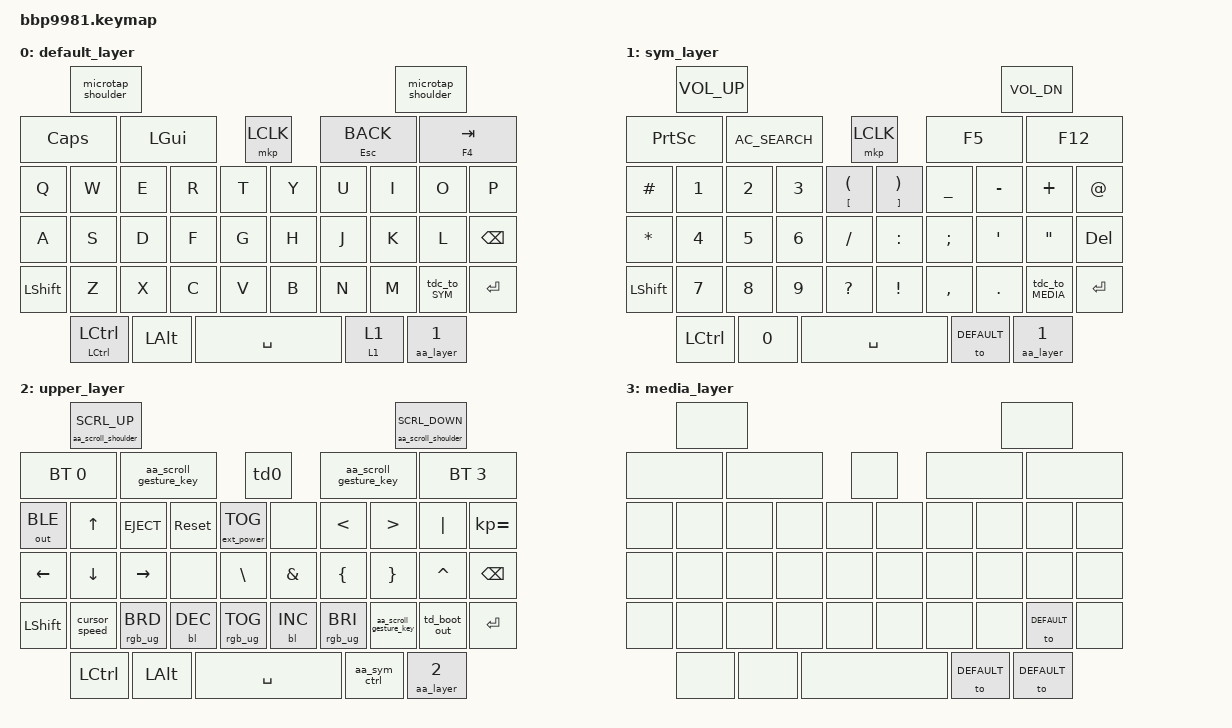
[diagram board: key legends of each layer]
/*
 * Copyright (c) 2025 ZitaoTech
 *
 * SPDX-License-Identifier: MIT
 */

#include <behaviors.dtsi>
#include <dt-bindings/zmk/keys.h>
#include <dt-bindings/zmk/bt.h>
#include <dt-bindings/zmk/outputs.h>
#include <dt-bindings/zmk/mouse.h>
#include <dt-bindings/zmk/backlight.h>
#include <dt-bindings/zmk/ext_power.h>
#include <dt-bindings/zmk/rgb.h>

#define DEFAULT 0
#define SYM 1
#define UPPER 2
#define MEDIA 3

#define SL_MO(layer) &sl_mo layer layer //tap -> sticky layer, hold -> momentary layer

&sl {
    release-after-ms = <3000>;
    };

/ {
    behaviors {
        cursor_speed: cursor_speed {
            compatible = "zmk,behavior-cursor-speed";
            #binding-cells = <0>;
            display-name = "Mouse gain: cycle five persistent presets";
        };
        microtap_shoulder: microtap_shoulder {
            compatible = "zmk,behavior-microtap-shoulder";
            #binding-cells = <0>;
            display-name = "Mouse shoulders: logical L/R roles follow inverted mode";
        };
        aa_sym_ctrl: aa_sym_ctrl {
            compatible = "zmk,behavior-aa-sym-ctrl";
            #binding-cells = <0>;
            display-name = "aA held: SYM Ctrl";
        };
        aa_layer: aa_layer {
            compatible = "zmk,behavior-aa-layer";
            #binding-cells = <1>;
            display-name = "Right aA: owned momentary/sticky/fixed UPPER";
        };
        aa_sl: aa_sticky_layer {
            compatible = "zmk,behavior-sticky-key";
            #binding-cells = <1>;
            bindings = <&aa_layer>;
            release-after-ms = <3000>;
            quick-release;
        };
        aa_mo: aa_hold_tap {
            compatible = "zmk,behavior-hold-tap";
            #binding-cells = <2>;
            flavor = "hold-preferred";
            tapping-term-ms = <450>;
            bindings = <&aa_layer>, <&aa_sl>;
        };
        aa_scroll_gesture_key: aa_scroll_gesture_key {
            compatible = "zmk,behavior-aa-scroll-gesture-key";
            #binding-cells = <0>;
            display-name = "aA: BT/locked BlackBerry-Back rotation; held F double mouse flip";
        };
    };

    behaviors {
        td0: tap_dance_0 {
            compatible = "zmk,behavior-tap-dance";
            #binding-cells = <0>;
            tapping-term-ms = <400>;
            bindings = <&mkp LCLK>, <&bt BT_CLR>;
        };
    };

    behaviors {
        td_boot_out: td_boot_out {
            compatible = "zmk,behavior-tap-dance";
            #binding-cells = <0>;
            tapping-term-ms = <400>;           
            bindings = <&bootloader>, <&out OUT_TOG>;
        };
    };

    behaviors {
        tdc_to_SYM: td_comma_to_layer {
            compatible = "zmk,behavior-tap-dance";
            #binding-cells = <0>;
            tapping-term-ms = <400>;
            bindings = <&kp SEMI>, <&to SYM>;
        };
    };

    behaviors {
        tdc_to_MEDIA: td_mute_to_layer {
            compatible = "zmk,behavior-tap-dance";
            #binding-cells = <0>;
            tapping-term-ms = <400>;
            bindings = <&kp C_MUTE>, <&to MEDIA>;
        };
    };

    behaviors {
        hm: homerow_mods {
            compatible = "zmk,behavior-hold-tap";
            #binding-cells = <2>;
            tapping-term-ms = <400>;
            bindings = <&kp &kp>;
        };
    };
    
    behaviors {
    sl_mo: behavior_sl_mo {
        compatible = "zmk,behavior-hold-tap";
        #binding-cells = <2>;
        flavor = "hold-preferred";      /* hold wins when another key is pressed */
        tapping-term-ms = <450>;       /* 长按阈值 */
        bindings = <&mo &sl>;          /* hold=MO, tap=SL */
        };
    };

    behaviors {
    sk_kp: behavior_sk_kp {
        compatible = "zmk,behavior-hold-tap";
        #binding-cells = <2>;
        flavor = "hold-preferred";      
        tapping-term-ms = <450>;       
        bindings = <&kp &sk>;          /* hold=kp, tap=sticky key */
        };
    };

    behaviors {
        bhm: balanced_homerow_mods {
            compatible = "zmk,behavior-hold-tap";
            #binding-cells = <2>;
            flavor = "balanced";
            tapping-term-ms = <400>;
            bindings = <&kp>, <&kp>;
        };
    };

    behaviors {
        aa_scroll_shoulder: behavior_aa_scroll_shoulder {
            compatible = "zmk,behavior-aa-scroll-shoulder";
            #binding-cells = <1>;
        };
    };

    keymap {
        compatible = "zmk,keymap";

        default_layer {

            bindings = <
//         --------------------------------------------------------------------------------------------------------------------------         
//         |    Shoulder Key1    |                                                                             |    Shoulder Key2    |     
// |         Call key      |      Blackberry Key        |    Trackpad    |             Back Key                |             Endcall Key          |
// |     Q      |     W    |     E    |     R    |      T      |       Y        |       U        |        I        |       O      |      P        |     
// |     A      |     S    |     D    |     F    |      G      |       H        |       J        |        K        |       L      |      ←        |  
// |     alt    |     Z    |     X    |     C    |      V      |       B        |       N        |        M        |       $      |    Enter      |   
//        |         aA     |         0           |           SPACE              |         SYM         |        aA          |       
//        -----------------------------------------------------------------------------------------------------------------

                 &microtap_shoulder                                                                                 &microtap_shoulder
    &kp CLCK                &kp LGUI                            &mkp LCLK                          &mt ESC K_BACK                    &mt F4 TAB
    &kp Q        &kp W      &kp E       &kp R     &kp T         &kp Y             &kp U            &kp I            &kp O            &kp P
    &kp A        &kp S      &kp D       &kp F     &kp G         &kp H             &kp J            &kp K            &kp L            &kp BSPC
    &kp LSHFT    &kp Z      &kp X       &kp C     &kp V         &kp B             &kp N            &kp M            &tdc_to_SYM      &kp ENTER
    &sk_kp LCTRL  LCTRL     &kp LALT                            &kp SPACE                          &sl_mo 1 1                        &aa_mo 0 1
            >;
        };


        sym_layer {

            bindings = <        
                 &kp C_VOL_UP                                                                                       &kp C_VOL_DN
    &kp PSCRN               &kp C_AC_SEARCH                     &mkp LCLK                          &kp F5                            &kp F12 
    &kp HASH     &kp N1     &kp N2      &kp N3    &mt LBKT LPAR &mt RBKT RPAR     &kp UNDER        &kp MINUS        &kp PLUS         &kp AT
    &kp STAR     &kp N4     &kp N5      &kp N6    &kp SLASH     &kp COLON         &kp SEMI         &kp APOS         &kp DQT          &kp DEL
    &kp LSHFT    &kp N7     &kp N8      &kp N9    &kp QMARK     &kp EXCL          &kp COMMA        &kp DOT          &tdc_to_MEDIA    &kp ENTER
    &kp LCTRL               &kp N0                              &kp SPACE                          &to DEFAULT                       &aa_mo 0 1
            >;
        };

        upper_layer {
            /* Double-tap right aA locks scrolling unrotated and pins UPPER; SYM exits.
             * Locked shoulders halve trackpad wheel and suppress native shoulder scroll.
             * Triple BlackBerry selects fixed left->up/right->down/up->right/down->left;
             * triple Back selects the inverse preset, never accumulates. aA held restores BT1/2.
             * Five light controls shift one key left; hold right aA and double-tap M to
             * toggle volatile inverted-mouse mode. F is unused in UPPER. */
            bindings = <
                 &aa_scroll_shoulder SCRL_UP                                                                               &aa_scroll_shoulder SCRL_DOWN
    &bt BT_SEL 0            &aa_scroll_gesture_key                        &td0                              &aa_scroll_gesture_key           &bt BT_SEL 3
    &out OUT_BLE &kp UP     &kp C_EJECT &sys_reset      &ext_power EP_TOG &none            &kp LT           &kp GT          &kp PIPE         &kp KP_EQUAL
    &kp LEFT     &kp DOWN   &kp RIGHT   &none              &kp BSLH      &kp AMPS         &kp LBRC         &kp RBRC        &kp CARET        &kp BSPC
    &kp LSHFT    &cursor_speed &rgb_ug RGB_BRD &bl BL_DEC        &rgb_ug RGB_TOG  &bl BL_INC       &rgb_ug RGB_BRI &aa_scroll_gesture_key &td_boot_out     &kp ENTER
    &kp LCTRL               &kp LALT                                      &kp  SPACE                        &aa_sym_ctrl                     &aa_layer 2
            >;
        };

        media_layer {

            bindings = <
                 &none                                                                                        &none
    &none                  &none                               &none                         &none                            &none
    &none        &none     &none       &none      &none        &none         &none           &none           &none            &none
    &none        &none     &none       &none      &none        &none         &none           &none           &none            &none
    &none        &none     &none       &none      &none        &none         &none           &none           &to DEFAULT      &none
    &none                  &none                               &none                         &to DEFAULT                      &to DEFAULT
            >;
        };
    };
};

